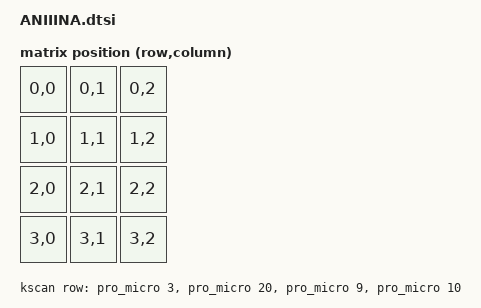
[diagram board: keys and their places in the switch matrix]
#include <dt-bindings/zmk/matrix_transform.h>

/ {
    chosen {
        zmk,kscan = &kscan;
        zmk,matrix_transform = &transform;
    };

    transform: matrix_transform {
        compatible = "zmk,matrix-transform";
        rows = <4>;
        columns = <3>;
        map = <
            RC(0,0) RC(0,1) RC(0,2)
            RC(1,0) RC(1,1) RC(1,2)
            RC(2,0) RC(2,1) RC(2,2)
            RC(3,0) RC(3,1) RC(3,2)
        >;
    };

    kscan: kscan {
        compatible = "zmk,kscan-gpio-matrix";
        diode-direction = "col2row";

        row-gpios = <&pro_micro 3 (GPIO_ACTIVE_HIGH | GPIO_PULL_DOWN)>,
                    <&pro_micro 20 (GPIO_ACTIVE_HIGH | GPIO_PULL_DOWN)>,
                    <&pro_micro 9 (GPIO_ACTIVE_HIGH | GPIO_PULL_DOWN)>,
                    <&pro_micro 10 (GPIO_ACTIVE_HIGH | GPIO_PULL_DOWN)>;
    };
};
